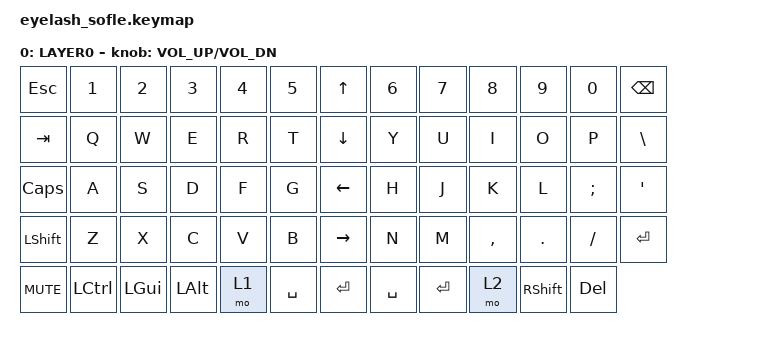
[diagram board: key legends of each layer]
#include <behaviors.dtsi>
#include <dt-bindings/zmk/bt.h>
#include <dt-bindings/zmk/keys.h>
#include <dt-bindings/zmk/mouse.h>
#include <dt-bindings/zmk/outputs.h>
#include <dt-bindings/zmk/rgb.h>

#include <input/processors.dtsi>

#define ZMK_MOUSE_DEFAULT_MOVE_VAL 1200
#define ZMK_MOUSE_DEFAULT_SCRL_VAL 20

/ {
    behaviors {
        mmv {
            acceleration-exponent = <1>;
            time-to-max-speed-ms = <900>;
            delay-ms = <0>;
        };

        msc {
            acceleration-exponent = <1>;
            time-to-max-speed-ms = <400>;
            delay-ms = <0>;
        };
    };

    scroll_encoder: scroll_encoder {
        compatible = "zmk,behavior-sensor-rotate";
        #sensor-binding-cells = <0>;
        bindings = <&msc SCRL_DOWN>, <&msc SCRL_UP>;
        tap-ms = <30>;
    };

    keymap {
        compatible = "zmk,keymap";

        default_layer {
            bindings = <
&kp ESC     &kp N1     &kp N2        &kp N3        &kp N4  &kp N5       &kp UP_ARROW     &kp N6     &kp N7     &kp N8     &kp N9           &kp N0      &kp BACKSPACE
&kp TAB     &kp Q      &kp W         &kp E         &kp R   &kp T        &kp DOWN_ARROW   &kp Y      &kp U      &kp I      &kp O            &kp P       &kp BSLH
&kp CAPS    &kp A      &kp S         &kp D         &kp F   &kp G        &kp LEFT_ARROW   &kp H      &kp J      &kp K      &kp L            &kp SEMI    &kp APOS
&kp LSHFT   &kp Z      &kp X         &kp C         &kp V   &kp B        &kp RIGHT_ARROW  &kp N      &kp M      &kp COMMA  &kp DOT          &kp FSLH    &kp ENTER
&kp C_MUTE  &kp LCTRL  &kp LEFT_GUI  &kp LEFT_ALT  &mo 1   &kp SPACE    &kp ENTER        &kp SPACE  &kp ENTER  &mo 2      &kp RIGHT_SHIFT  &kp DELETE
            >;
            sensor-bindings = <&inc_dec_kp C_VOLUME_UP C_VOL_DN>;
            display-name = "LAYER0";
        };
    };
};
